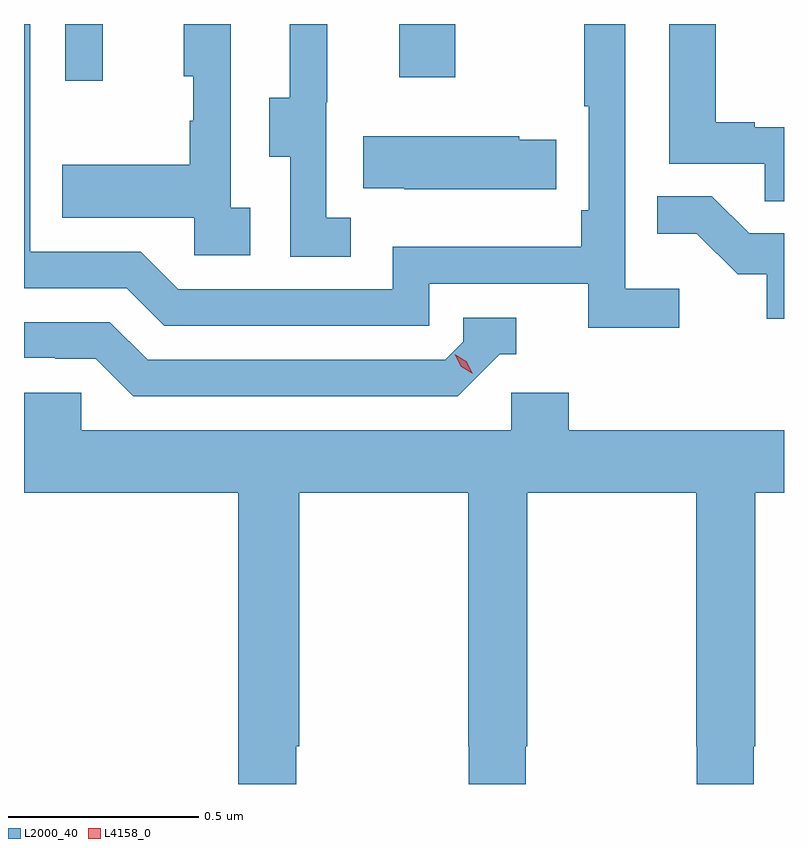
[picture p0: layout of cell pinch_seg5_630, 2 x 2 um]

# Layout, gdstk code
import gdstk
lib = gdstk.Library(unit=1e-6, precision=1e-09)
def R(c, l, rs):  # rectangles x0, y0, x1, y1
    for r in rs: c.add(gdstk.rectangle(r[:2], r[2:], *l))
def P(c, l, *ps):  # polygons
    for p in ps: c.add(gdstk.Polygon(p, *l))
L2000_40 = (2000, 40)
L4158_0 = (4158, 0)

pinch_seg5_630 = lib.new_cell('pinch_seg5_630')
R(pinch_seg5_630, L2000_40, [(1064.427,869.832,1064.525,869.981), (1065.305,869.841,1065.453,869.981)])
P(pinch_seg5_630, L2000_40, [(1066.042,869.284),(1065.9,869.284),(1065.9,869.981),(1065.792,869.981),(1065.792,869.764),(1065.804,869.764),(1065.804,869.491),(1065.784,869.491),(1065.784,869.395),(1065.288,869.395),(1065.288,869.283),(1064.724,869.283),(1064.625,869.382),(1064.334,869.382),(1064.334,869.981),(1064.318,869.981),(1064.318,869.286),(1064.588,869.286),(1064.687,869.187),(1065.384,869.187),(1065.384,869.298),(1065.803,869.298),(1065.803,869.182),(1066.042,869.182)],
  [(1066.318,869.709),(1066.241,869.709),(1066.241,869.722),(1066.138,869.722),(1066.138,869.981),(1066.016,869.981),(1066.016,869.613),(1066.267,869.613),(1066.267,869.515),(1066.318,869.515)],
  [(1065.178,869.471),(1065.114,869.471),(1065.114,869.775),(1065.116,869.775),(1065.116,869.981),(1065.017,869.981),(1065.017,869.787),(1064.963,869.787),(1064.963,869.632),(1065.018,869.632),(1065.018,869.368),(1065.178,869.368)],
  [(1064.914,869.498),(1064.862,869.498),(1064.862,869.981),(1064.738,869.981),(1064.738,869.844),(1064.764,869.844),(1064.764,869.726),(1064.754,869.726),(1064.754,869.611),(1064.419,869.611),(1064.419,869.471),(1064.766,869.471),(1064.766,869.373),(1064.914,869.373)],
  [(1065.719,869.676),(1065.621,869.676),(1065.621,869.686),(1065.211,869.686),(1065.211,869.549),(1065.319,869.549),(1065.319,869.546),(1065.719,869.546)],
  [(1066.318,869.43),(1066.226,869.43),(1066.128,869.528),(1065.985,869.528),(1065.985,869.429),(1066.089,869.429),(1066.196,869.322),(1066.273,869.322),(1066.273,869.205),(1066.318,869.205)],
  [(1065.57,869.112),(1065.613,869.112),(1065.613,869.208),(1065.474,869.208),(1065.474,869.145),(1065.426,869.097),(1064.643,869.097),(1064.544,869.196),(1064.318,869.196),(1064.318,869.103),(1064.4,869.103),(1064.4,869.1),(1064.507,869.1),(1064.606,869.001),(1065.459,869.001)],
  [(1065.035,868.081),(1065.042,868.081),(1065.042,868.748),(1065.487,868.748),(1065.487,868.081),(1065.489,868.081),(1065.489,867.981),(1065.639,867.981),(1065.639,868.081),(1065.642,868.081),(1065.642,868.748),(1066.087,868.748),(1066.087,868.081),(1066.089,868.081),(1066.089,867.981),(1066.239,867.981),(1066.239,868.081),(1066.242,868.081),(1066.242,868.748),(1066.318,868.748),(1066.318,868.912),(1065.752,868.912),(1065.752,869.01),(1065.6,869.01),(1065.6,868.912),(1064.469,868.912),(1064.469,869.01),(1064.319,869.01),(1064.319,868.912),(1064.318,868.912),(1064.318,868.748),(1064.882,868.748),(1064.882,867.981),(1065.035,867.981)])
P(pinch_seg5_630, L4158_0, [(1065.499,869.06),(1065.468,869.079),(1065.451,869.112),(1065.451,869.112),(1065.452,869.112),(1065.482,869.093),(1065.499,869.061),(1065.499,869.06)])

lib.write_gds('pinch_seg5_630.gds')
